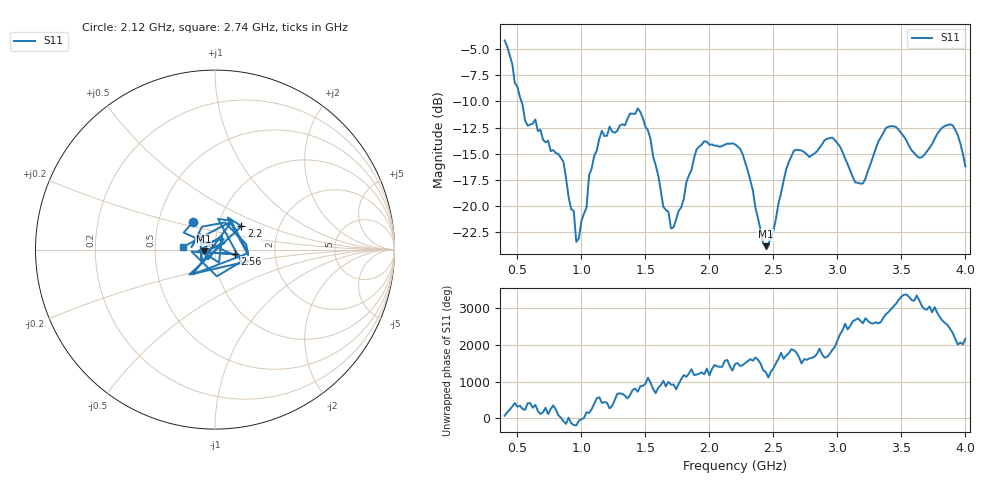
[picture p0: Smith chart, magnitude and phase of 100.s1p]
!Created with skrf (http://scikit-rf.org).
# Hz S RI R 50.0
!freq ReS11 ImS11
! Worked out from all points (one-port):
!   181 points, 400 MHz to 4 GHz, reference 50 ohm
!   lowest |S11| = -23.9 dB at 2.44 GHz (marker M1), VSWR 1.14, Z = 44 - j0.77 ohm
!   |S11| at or under -10 dB: 531.6 MHz to end of sweep
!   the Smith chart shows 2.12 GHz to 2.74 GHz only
!   S11 on the Smith chart (normalised r, x): 2.12 GHz: 0.75, +0.24; 2.2 GHz: 1.29, +0.35; 2.56 GHz: 1.25, -0.06; 2.74 GHz: 0.69, +0.02
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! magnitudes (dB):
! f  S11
! 400 MHz  -4.1
! 560 MHz  -11.8
! 640 MHz  -11.7
! 860 MHz  -15.8
! 940 MHz  -20.5
! 960 MHz  -23.5
! 1.16 GHz  -12.8
! 1.3 GHz  -12.3
! 1.46 GHz  -11.0
! 1.54 GHz  -13.6
! 1.7 GHz  -22.2
! 1.76 GHz  -20.5
! 1.9 GHz  -14.6
! 2.12 GHz  -14.1
! 2.2 GHz  -14.1
! 2.3 GHz  -16.7
! 2.44 GHz  -23.9
! 2.56 GHz  -18.8
! 2.66 GHz  -14.7
! 2.74 GHz  -14.9
! 2.96 GHz  -13.5
! 3.1 GHz  -16.6
! 3.2 GHz  -17.9
! 3.4 GHz  -12.4
! 3.56 GHz  -14.3
! 3.66 GHz  -15.4
! 3.88 GHz  -12.2
! 4 GHz  -16.2
